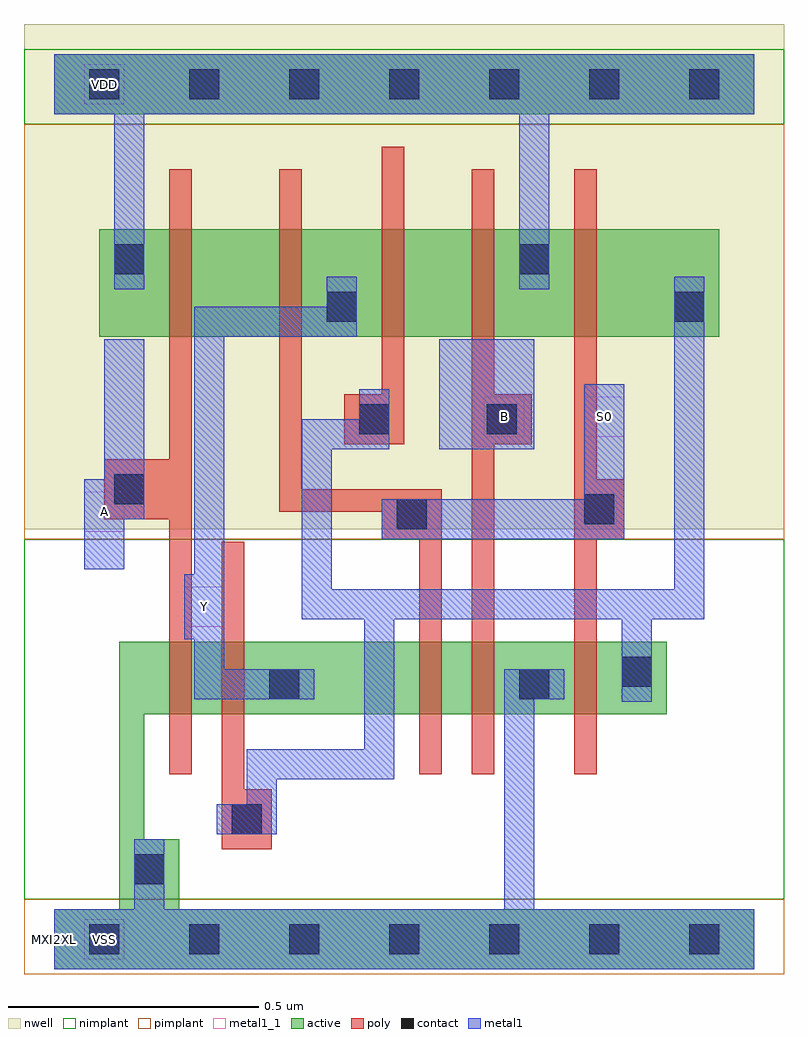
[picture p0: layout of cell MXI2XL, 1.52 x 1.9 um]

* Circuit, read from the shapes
.subckt MXI2XL A B S0 VDD VSS Y
M1 n1 A VSS VSS nfet w=0.145u l=0.045u
M2 Y n2 n1 VSS nfet w=0.145u l=0.045u
M3 n3 S0 Y VSS nfet w=0.145u l=0.045u
M4 VSS B n3 VSS nfet w=0.145u l=0.045u
M5 n2 S0 VSS VSS nfet w=0.145u l=0.045u
M6 n4 A VDD VDD pfet w=0.215u l=0.045u
M7 Y S0 n4 VDD pfet w=0.215u l=0.045u
M8 n5 n2 Y VDD pfet w=0.215u l=0.045u
M9 VDD B n5 VDD pfet w=0.215u l=0.045u
M10 n2 S0 VDD VDD pfet w=0.215u l=0.045u
.ends

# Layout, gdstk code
import gdstk
lib = gdstk.Library(unit=1e-6, precision=5e-10)
def R(c, l, rs):  # rectangles x0, y0, x1, y1
    for r in rs: c.add(gdstk.rectangle(r[:2], r[2:], *l))
def A(c, l, x, y, w, h, nx, ny, dx, dy):  # array of equal rectangles
    R(c, l, [(x+i*dx, y+j*dy, x+i*dx+w, y+j*dy+h) for i in range(nx) for j in range(ny)])
def P(c, l, *ps):  # polygons
    for p in ps: c.add(gdstk.Polygon(p, *l))
active = (1, 0)
nwell = (2, 0)
poly = (3, 0)
nimplant = (4, 0)
pimplant = (5, 0)
contact = (6, 0)
metal1 = (7, 0)
metal1_1 = (7, 1)

mxi2xl = lib.new_cell('MXI2XL')
R(mxi2xl, active, [(0.09,1.205,1.33,1.42), (0,1.65,1.4,1.77)])
P(mxi2xl, active, [(0.13,0.595),(1.225,0.595),(1.225,0.45),(0.18,0.45),(0.18,0.2),(0.25,0.2),(0.25,0.06),(1.4,0.06),(1.4,-0.06),(0,-0.06),(0,0.06),(0.13,0.06)])
R(mxi2xl, nwell, [(-0.06,0.82,1.46,1.83)])
P(mxi2xl, poly, [(0.23,1.54),(0.275,1.54),(0.275,0.33),(0.23,0.33),(0.23,0.84),(0.1,0.84),(0.1,0.96),(0.23,0.96)],
  [(0.45,1.54),(0.495,1.54),(0.495,0.9),(0.775,0.9),(0.775,0.33),(0.73,0.33),(0.73,0.8),(0.655,0.8),(0.655,0.855),(0.45,0.855)],
  [(0.655,1.585),(0.7,1.585),(0.7,0.99),(0.58,0.99),(0.58,1.09),(0.655,1.09)],
  [(0.835,1.54),(0.88,1.54),(0.88,1.09),(0.955,1.09),(0.955,0.99),(0.88,0.99),(0.88,0.33),(0.835,0.33)],
  [(1.04,1.54),(1.085,1.54),(1.085,0.92),(1.14,0.92),(1.14,0.8),(1.085,0.8),(1.085,0.33),(1.04,0.33)],
  [(0.335,0.795),(0.38,0.795),(0.38,0.3),(0.435,0.3),(0.435,0.18),(0.335,0.18)])
R(mxi2xl, nimplant, [(-0.06,0.08,1.46,0.8), (-0.06,1.63,1.46,1.78)])
R(mxi2xl, pimplant, [(-0.06,-0.07,1.46,0.08), (-0.06,0.8,1.46,1.63)])
A(mxi2xl, contact, 0.07, -0.03, 0.06, 0.06, 7, 2, 0.2, 1.71)
R(mxi2xl, contact, [(0.16,0.11,0.22,0.17), (0.355,0.21,0.415,0.27), (0.43,0.48,0.49,0.54), (0.93,0.48,0.99,0.54), (1.135,0.505,1.195,0.565), (0.685,0.82,0.745,0.88), (1.06,0.83,1.12,0.89), (0.12,0.87,0.18,0.93), (0.61,1.01,0.67,1.07), (0.865,1.01,0.925,1.07), (0.545,1.235,0.605,1.295), (1.24,1.235,1.3,1.295), (0.12,1.33,0.18,1.39), (0.93,1.33,0.99,1.39)])
R(mxi2xl, metal1, [(0.77,0.98,0.96,1.2)])
P(mxi2xl, metal1, [(0,1.77),(1.4,1.77),(1.4,1.65),(0.99,1.65),(0.99,1.3),(0.93,1.3),(0.93,1.65),(0.18,1.65),(0.18,1.3),(0.12,1.3),(0.12,1.65),(0,1.65)],
  [(0.545,1.325),(0.605,1.325),(0.605,1.205),(0.34,1.205),(0.34,0.54),(0.52,0.54),(0.52,0.48),(0.28,0.48),(0.28,0.6),(0.26,0.6),(0.26,0.73),(0.28,0.73),(0.28,1.265),(0.545,1.265)],
  [(0.61,1.1),(0.67,1.1),(0.67,0.98),(0.555,0.98),(0.555,0.7),(1.24,0.7),(1.24,1.325),(1.3,1.325),(1.3,0.64),(1.195,0.64),(1.195,0.475),(1.135,0.475),(1.135,0.64),(0.68,0.64),(0.68,0.32),(0.445,0.32),(0.445,0.21),(0.325,0.21),(0.325,0.27),(0.385,0.27),(0.385,0.38),(0.62,0.38),(0.62,0.64),(0.495,0.64),(0.495,1.04),(0.61,1.04)],
  [(0.1,1.2),(0.18,1.2),(0.18,0.84),(0.14,0.84),(0.14,0.74),(0.06,0.74),(0.06,0.92),(0.1,0.92)],
  [(1.06,1.11),(1.14,1.11),(1.14,0.8),(0.655,0.8),(0.655,0.88),(1.06,0.88)],
  [(0.9,0.54),(1.02,0.54),(1.02,0.48),(0.96,0.48),(0.96,0.06),(1.4,0.06),(1.4,-0.06),(0,-0.06),(0,0.06),(0.16,0.06),(0.16,0.2),(0.22,0.2),(0.22,0.06),(0.9,0.06)])
A(mxi2xl, metal1_1, 0.06, -0.04, 0.08, 0.08, 1, 3, 0, 0.855)
R(mxi2xl, metal1_1, [(0.26,0.625,0.34,0.705), (0.86,1.005,0.94,1.085), (1.06,1.005,1.14,1.085)])
mxi2xl.add(gdstk.Label('Y', (0.3,0.665), layer=7, texttype=1))
mxi2xl.add(gdstk.Label('S0', (1.1,1.045), layer=7, texttype=1))
mxi2xl.add(gdstk.Label('B', (0.9,1.045), layer=7, texttype=1))
mxi2xl.add(gdstk.Label('A', (0.1,0.855), layer=7, texttype=1))
mxi2xl.add(gdstk.Label('VDD', (0.1,1.71), layer=7, texttype=1))
mxi2xl.add(gdstk.Label('VSS', (0.1,0), layer=7, texttype=1))
mxi2xl.add(gdstk.Label('MXI2XL', (0,0), layer=63, texttype=0))

lib.write_gds('MXI2XL.gds')
